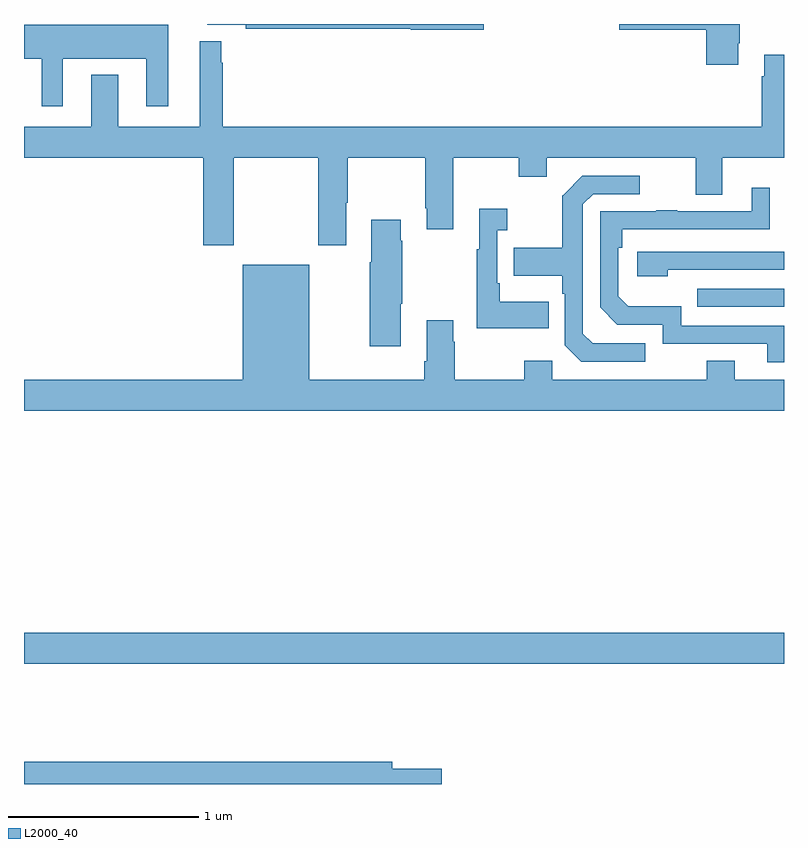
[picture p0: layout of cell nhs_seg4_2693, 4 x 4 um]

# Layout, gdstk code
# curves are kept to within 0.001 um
import gdstk
lib = gdstk.Library(unit=1e-6, precision=1e-09)
def R(c, l, rs):  # rectangles x0, y0, x1, y1
    for r in rs: c.add(gdstk.rectangle(r[:2], r[2:], *l))
def P(c, l, *ps):  # polygons
    for p in ps: c.add(gdstk.Polygon(p, *l))
L2000_40 = (2000, 40)

nhs_seg4_2693 = lib.new_cell('nhs_seg4_2693')
R(nhs_seg4_2693, L2000_40, [(253,751.532,257,751.696), (256.543,753.411,257,753.507)])
P(nhs_seg4_2693, L2000_40, [(255.421,754.9),(253.964,754.9),(253.964,754.896),(254.168,754.896),(254.168,754.876),(255.036,754.876),(255.036,754.871),(255.421,754.871)],
  [(256.759,754.798),(256.767,754.798),(256.767,754.9),(256.134,754.9),(256.134,754.871),(256.592,754.871),(256.592,754.686),(256.759,754.686)],
  [(253.204,754.718),(253.643,754.718),(253.643,754.467),(253.759,754.467),(253.759,754.897),(253,754.897),(253,754.718),(253.094,754.718),(253.094,754.467),(253.204,754.467)],
  [(254.103,754.196),(254.548,754.196),(254.548,753.735),(254.695,753.735),(254.695,753.958),(254.703,753.958),(254.703,754.196),(255.112,754.196),(255.112,753.931),(255.119,753.931),(255.119,753.819),(255.259,753.819),(255.259,754.196),(255.604,754.196),(255.604,754.097),(255.751,754.097),(255.751,754.196),(256.535,754.196),(256.535,754.002),(256.675,754.002),(256.675,754.196),(257,754.196),(257,754.738),(256.895,754.738),(256.895,754.625),(256.883,754.625),(256.883,754.36),(254.047,754.36),(254.047,754.697),(254.038,754.697),(254.038,754.81),(253.925,754.81),(253.925,754.36),(253.495,754.36),(253.495,754.633),(253.355,754.633),(253.355,754.36),(253,754.36),(253,754.196),(253.943,754.196),(253.943,753.735),(254.103,753.735)],
  [(256.27,753.219),(255.993,753.219),(255.942,753.27),(255.942,753.951),(255.996,754.005),(256.24,754.005),(256.24,754.101),(255.939,754.101),(255.834,753.995),(255.834,753.723),(255.577,753.723),(255.577,753.575),(255.834,753.575),(255.834,753.479),(255.846,753.479),(255.846,753.21),(255.933,753.123),(256.27,753.123)],
  [(257,753.312),(256.458,753.312),(256.458,753.415),(256.181,753.415),(256.128,753.468),(256.128,753.722),(256.148,753.722),(256.148,753.819),(256.925,753.82),(256.925,754.039),(256.829,754.039),(256.829,753.915),(256.439,753.915),(256.439,753.92),(256.327,753.92),(256.327,753.915),(256.032,753.915),(256.032,753.408),(256.122,753.318),(256.362,753.318),(256.362,753.216),(256.913,753.216),(256.913,753.12),(257,753.12)],
  [(255.761,753.439),(255.505,753.439),(255.505,753.535),(255.492,753.535),(255.492,753.815),(255.544,753.815),(255.544,753.928),(255.395,753.928),(255.395,753.715),(255.384,753.715),(255.384,753.299),(255.761,753.299)],
  [(254.983,753.427),(254.991,753.427),(254.991,753.758),(254.983,753.758),(254.983,753.871),(254.828,753.871),(254.828,753.647),(254.821,753.647),(254.821,753.204),(254.983,753.204)],
  [(256.388,753.606),(257,753.606),(257,753.702),(256.227,753.702),(256.227,753.572),(256.388,753.572)],
  [(257,753.028),(256.741,753.028),(256.741,753.127),(256.594,753.127),(256.594,753.028),(255.78,753.028),(255.78,753.127),(255.634,753.127),(255.634,753.028),(255.267,753.028),(255.267,753.227),(255.259,753.227),(255.259,753.34),(255.119,753.34),(255.119,753.124),(255.107,753.124),(255.107,753.028),(254.5,753.028),(254.5,753.634),(254.15,753.634),(254.15,753.028),(253,753.028),(253,752.864),(257,752.864)],
  [(255.199,750.98),(254.938,750.98),(254.938,751.016),(253,751.016),(253,750.9),(255.199,750.9)])

lib.write_gds('nhs_seg4_2693.gds')
